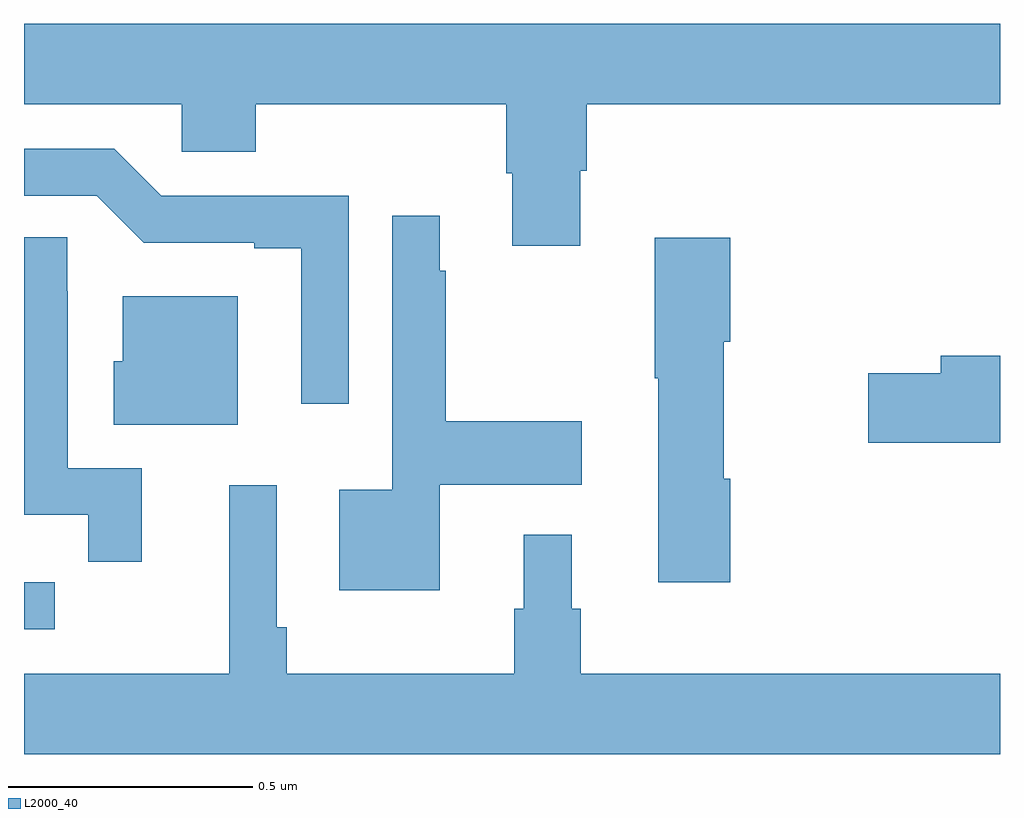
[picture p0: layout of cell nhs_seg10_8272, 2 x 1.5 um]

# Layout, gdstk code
import gdstk
lib = gdstk.Library(unit=1e-6, precision=1e-09)
def R(c, l, rs):  # rectangles x0, y0, x1, y1
    for r in rs: c.add(gdstk.rectangle(r[:2], r[2:], *l))
def P(c, l, *ps):  # polygons
    for p in ps: c.add(gdstk.Polygon(p, *l))
L2000_40 = (2000, 40)

nhs_seg10_8272 = lib.new_cell('nhs_seg10_8272')
R(nhs_seg10_8272, L2000_40, [(214,1315.224,214.063,1315.32)])
P(nhs_seg10_8272, L2000_40, [(215.14,1316.163),(215.153,1316.163),(215.153,1316.3),(216,1316.3),(216,1316.464),(214,1316.464),(214,1316.3),(214.323,1316.3),(214.323,1316.202),(214.475,1316.202),(214.475,1316.3),(214.988,1316.3),(214.988,1316.158),(215,1316.158),(215,1316.01),(215.14,1316.01)],
  [(214.665,1316.112),(214.281,1316.112),(214.185,1316.208),(214,1316.208),(214,1316.112),(214.149,1316.112),(214.245,1316.016),(214.472,1316.016),(214.472,1316.004),(214.568,1316.004),(214.568,1315.686),(214.665,1315.686)],
  [(214.852,1315.52),(215.143,1315.52),(215.143,1315.65),(214.864,1315.65),(214.864,1315.958),(214.852,1315.958),(214.852,1316.071),(214.755,1316.071),(214.755,1315.51),(214.646,1315.51),(214.646,1315.304),(214.852,1315.304)],
  [(214.241,1315.554),(214.09,1315.554),(214.09,1315.916),(214.089,1315.916),(214.089,1316.027),(214,1316.027),(214,1315.458),(214.132,1315.458),(214.132,1315.362),(214.241,1315.362)],
  [(215.447,1315.532),(215.434,1315.532),(215.434,1315.813),(215.447,1315.813),(215.447,1316.026),(215.293,1316.026),(215.293,1315.738),(215.3,1315.738),(215.3,1315.32),(215.447,1315.32)],
  [(214.438,1315.906),(214.202,1315.906),(214.202,1315.773),(214.184,1315.773),(214.184,1315.643),(214.438,1315.643)],
  [(216,1315.784),(215.879,1315.784),(215.879,1315.748),(215.73,1315.748),(215.73,1315.606),(216,1315.606)],
  [(216,1315.132),(215.141,1315.132),(215.141,1315.266),(215.122,1315.266),(215.122,1315.417),(215.024,1315.417),(215.024,1315.266),(215.005,1315.266),(215.005,1315.132),(214.538,1315.132),(214.538,1315.228),(214.518,1315.228),(214.518,1315.519),(214.421,1315.519),(214.421,1315.132),(214,1315.132),(214,1314.968),(216,1314.968)])

lib.write_gds('nhs_seg10_8272.gds')
